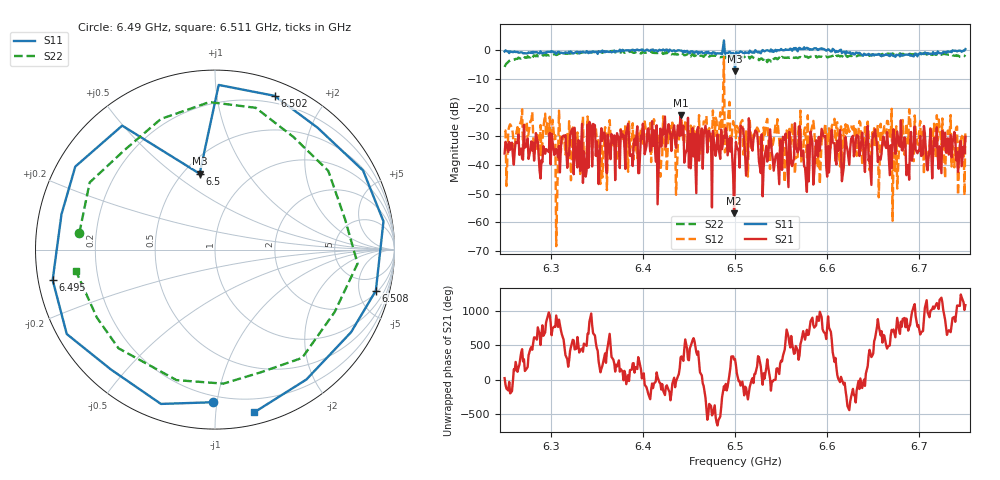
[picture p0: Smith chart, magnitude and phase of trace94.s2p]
# Hz S RI R 50
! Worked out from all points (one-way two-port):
!   401 points, 6.25 GHz to 6.75 GHz, reference 50 ohm
!   highest |S21| = -22.57 dB at 6.441 GHz (marker M1); lowest = -56.9 dB at 6.499 GHz (marker M2)
!   lowest |S11| = -7.3 dB at 6.5 GHz (marker M3), VSWR 2.52, Z = 30 + j31.1 ohm
!   |S11| at or under -10 dB: nowhere
!   |S22| runs from -5.8 to 0.1 dB; largest |S21 - S12| = 0.79
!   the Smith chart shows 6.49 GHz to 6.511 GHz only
!   S11 on the Smith chart (normalised r, x): 6.49 GHz: 0.16, -0.98; 6.495 GHz: 0.04, -0.09; 6.5 GHz: 0.60, +0.62; 6.502 GHz: 0.13, +1.45; 6.508 GHz: 2.29, -7.25; 6.511 GHz: 0.09, -1.27
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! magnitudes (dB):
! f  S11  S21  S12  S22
! 6.25 GHz  -0.4  -35.9  -27.9  -5.8
! 6.334 GHz  -0.7  -25.6  -32.7  -0.8
! 6.414 GHz  0.1  -38.8  -25.8  -0.9
! 6.418 GHz  0.2  -32.5  -40.9  -0.7
! 6.441 GHz  -0.1  -22.6  -23.4  -1.3
! 6.455 GHz  -0.9  -37.0  -26.7  -1.7
! 6.49 GHz  -1.4  -27.1  -35.0  -2.4
! 6.495 GHz  -0.7  -35.3  -34.3  -1.7
! 6.499 GHz  -1.3  -56.9  -26.5  -2.3
! 6.5 GHz  -7.3  -38.0  -25.7  -2.6
! 6.502 GHz  -0.7  -33.6  -26.4  -2.5
! 6.508 GHz  -0.7  -27.2  -24.3  -2.4
! 6.511 GHz  -0.6  -36.6  -37.2  -2.1
! 6.584 GHz  0.2  -32.2  -26.1  -2.2
! 6.59 GHz  0.1  -37.0  -40.9  -2.3
! 6.605 GHz  -0.4  -27.7  -26.4  -2.0
! 6.668 GHz  -2.0  -43.5  -30.5  -1.2
! 6.674 GHz  -2.3  -36.0  -42.6  -1.5
! 6.689 GHz  -1.4  -45.1  -20.5  -1.3
! 6.708 GHz  -1.1  -39.8  -36.2  -1.5
! 6.721 GHz  -0.8  -41.3  -24.1  -1.5
! 6.75 GHz  0.4  -30.1  -28.3  -2.2
